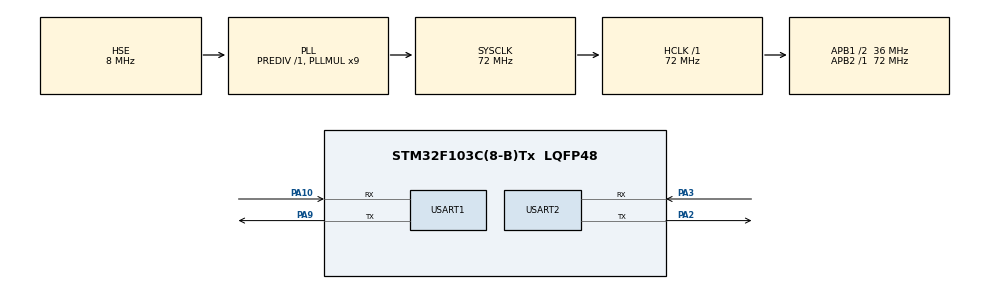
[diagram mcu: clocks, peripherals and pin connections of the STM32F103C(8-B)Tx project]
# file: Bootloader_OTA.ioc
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Mcu.Family=STM32F1
Mcu.Name=STM32F103C(8-B)Tx
Mcu.Package=LQFP48
NVIC.FLASH_IRQn=true\:2\:0\:true\:false\:true\:true\:true\:true
NVIC.PriorityGroup=NVIC_PRIORITYGROUP_4
NVIC.USART2_IRQn=true\:1\:0\:true\:false\:true\:true\:true\:true
PA10.Mode=Asynchronous
PA10.Signal=USART1_RX
PA13.Mode=Serial_Wire
PA13.Signal=SYS_JTMS-SWDIO
PA14.Mode=Serial_Wire
PA14.Signal=SYS_JTCK-SWCLK
PA2.Mode=Asynchronous
PA2.Signal=USART2_TX
PA3.Mode=Asynchronous
PA3.Signal=USART2_RX
PA9.Mode=Asynchronous
PA9.Signal=USART1_TX
PD0-OSC_IN.Mode=HSE-External-Oscillator
PD0-OSC_IN.Signal=RCC_OSC_IN
PD1-OSC_OUT.Mode=HSE-External-Oscillator
PD1-OSC_OUT.Signal=RCC_OSC_OUT
ProjectManager.HeapSize=0x200
ProjectManager.StackSize=0x400
ProjectManager.TargetToolchain=MDK-ARM V5.32
RCC.AHBFreq_Value=72000000
RCC.APB1CLKDivider=RCC_HCLK_DIV2
RCC.APB1Freq_Value=36000000
RCC.APB1TimFreq_Value=72000000
RCC.APB2Freq_Value=72000000
RCC.APB2TimFreq_Value=72000000
RCC.HCLKFreq_Value=72000000
RCC.PLLMUL=RCC_PLL_MUL9
RCC.PLLSourceVirtual=RCC_PLLSOURCE_HSE
RCC.SYSCLKFreq_VALUE=72000000
RCC.SYSCLKSource=RCC_SYSCLKSOURCE_PLLCLK
RCC.USBFreq_Value=72000000
USART1.VirtualMode=VM_ASYNC
USART2.VirtualMode=VM_ASYNC
board=custom

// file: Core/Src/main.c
/* USER CODE BEGIN Header */
/**
  ******************************************************************************
  * @file           : main.c
  * @brief          : Main program body
  ******************************************************************************
  * @attention
  *
  * Copyright (c) 2023 STMicroelectronics.
  * All rights reserved.
  *
  * This software is licensed under terms that can be found in the LICENSE file
  * in the root directory of this software component.
  * If no LICENSE file comes with this software, it is provided AS-IS.
  *
  ******************************************************************************
  */
/* USER CODE END Header */
#include "main.h"

UART_HandleTypeDef huart1;
UART_HandleTypeDef huart2;

void SystemClock_Config(void);
static void MX_GPIO_Init(void);
static void MX_USART1_UART_Init(void);
static void MX_USART2_UART_Init(void);

/* USER CODE BEGIN 0 */
#include <string.h>
#include <stdbool.h>
#include <stdarg.h>
#include <stdio.h>
#include "flash.h"

#define ACK	0
#define NACK 1
#define MAX_DATA 128
#define ADDR_APP1_PROGRAM 0x8005000
#define ADDR_APP1_PROGRAM_SIZE 53
#define ADDR_APP2_PROGRAM (ADDR_APP1_PROGRAM + ADDR_APP1_PROGRAM_SIZE*1024) //0x8012400
#define ADDR_COMMON_ADDR 0x801F800

uint8_t uart_buff[MAX_DATA];
uint16_t uart_index;
bool flag = 1;
uint32_t ota_addr_start = ADDR_APP2_PROGRAM;

enum
{
    START_SEND_FILE = 0x01,
    SEND_DATA = 0x02,
    SEND_DONE = 0x03,
    SEND_ACK = 0x04,
};
enum
{
	NORMAL_RESET,
	OTA_REQUEST_RESET
};
enum
{
	APP1_CURRENT,
	APP2_CURRENT
};
typedef struct
{
	uint8_t used1;
	uint8_t used2;
	uint8_t reset_cause;
	uint8_t app_current;
} ota_infor_t;
ota_infor_t ota_infor;

//=================================== my_printf ==============================

void my_printf(const char* str, ...)
{
	char stringArray[100];

  va_list args;
  va_start(args, str);
  uint8_t len_str = vsprintf(stringArray, str, args);
  va_end(args);

	HAL_UART_Transmit(&huart1,(uint8_t*)stringArray, len_str, 100);
}

//=================================== console ================================

void console(uint8_t *buff, uint8_t len)
{
  for(uint8_t i=0; i<len; i++)
	{
    my_printf("%02x ", buff[i]);
  }
}

//=================================== checksum ===============================

uint8_t checksum(uint8_t *buff, uint8_t len)
{
    uint8_t sum=0;
    for(uint8_t i=0;i<len;i++)
		{
       sum += buff[i];
    }
    return sum;
}

//=================================== HAL_UARTEx_RxEventCallback =============

void HAL_UARTEx_RxEventCallback(UART_HandleTypeDef *huart, uint16_t Size)
{
  flag = 1;
  uart_index = Size;
  HAL_UARTEx_ReceiveToIdle_IT(&huart2,uart_buff,MAX_DATA);
}

//=================================== uart_send_data =========================

void uart_send_data(uint8_t *data, uint8_t len)
{
  HAL_UART_Transmit(&huart2,data,len,100);
}

//=================================== stm_send_ack ===========================

void stm_send_ack(bool ack)
{
	uint8_t buff[4];
	buff[0] = SEND_ACK;
	buff[1] = 1;
	buff[2] = ack;
	buff[3] = checksum(buff, 3);
	uart_send_data(buff, 4);
}

//=================================== receive_data_process ===================

void receive_data_process(uint8_t *data, uint8_t len)
{
  uint8_t check;
  if(len >= 3)
	{
    my_printf("receive_data_process:len= %d\n", len);
    console(data,len);
    my_printf("\n");
		my_printf("len: %d\n", data[1]);
    check = checksum(data,len-1);
    if(check == data[len-1])
		{
      my_printf("checksum: ok\n");
			my_printf("cmd: %x\n",data[0]);
      switch(data[0])
			{
        case START_SEND_FILE:
				{
					stm_send_ack(ACK);
					flash_unlock();
          break;
				}
        case SEND_DATA:
				{
					uint8_t len = data[1];
					flash_write_arr(ota_addr_start, &data[2], len);
					ota_addr_start += len;
          stm_send_ack(ACK);
          break;
				}
        case SEND_DONE:
				{
					ota_infor.app_current = (ota_infor.app_current = APP1_CURRENT)? APP2_CURRENT:APP1_CURRENT;
					ota_infor.reset_cause = NORMAL_RESET;
					flash_erase(1, ADDR_COMMON_ADDR);
					flash_write_arr(ADDR_COMMON_ADDR, &ota_infor, sizeof(ota_infor));
					flash_lock();
          my_printf("SEND_DONE_CMD\n");
					ota_addr_start = ADDR_APP2_PROGRAM;
					NVIC_SystemReset();
          break;
				}
      }
    }
    else
		{
			my_printf("checksum: err\n");
			stm_send_ack(NACK);
		}
  }
}

//=====================================Run_app_program==============================================

typedef void(*run_app_handle)(void);
run_app_handle run_app;
void run_app_program(uint32_t addr)
{
	HAL_RCC_DeInit();
	HAL_DeInit();
	SCB->SHCSR &= ~(SCB_SHCSR_USGFAULTENA_Msk |
									SCB_SHCSR_BUSFAULTENA_Msk |
									SCB_SHCSR_MEMFAULTENA_Msk ) ;
	__set_MSP(*((volatile uint32_t*) addr));
	run_app = (run_app_handle)*((volatile uint32_t*) (addr + 4));
	run_app();
}

/* USER CODE END 0 */

int main(void)
{

  /* MCU Configuration--------------------------------------------------------*/

  /* Reset of all peripherals, Initializes the Flash interface and the Systick. */
  HAL_Init();

  /* Configure the system clock */
  SystemClock_Config();

  /* Initialize all configured peripherals */
  MX_GPIO_Init();
  MX_USART1_UART_Init();
  MX_USART2_UART_Init();
  /* USER CODE BEGIN 2 */
	flash_read_arr(ADDR_COMMON_ADDR, &ota_infor, sizeof(ota_infor));

	if((ota_infor.used1 != 0x55) || (ota_infor.used2 != 0xaa))
	{
		my_printf("Boot: First\n");
		ota_infor.used1 = 0x55;
		ota_infor.used2 = 0xaa;
		ota_infor.app_current = APP1_CURRENT;
		ota_infor.reset_cause = NORMAL_RESET;
		flash_unlock();
		flash_erase(1, ADDR_COMMON_ADDR);
		flash_write_arr(ADDR_COMMON_ADDR, &ota_infor, sizeof(ota_infor));
		flash_lock();
	}
	else
	{
		my_printf("Boot: Not First\n");
	}
//	ota_infor.app_current = APP1_CURRENT;
//	flash_unlock();
//	flash_erase(1, ADDR_COMMON_ADDR);
//	flash_write_arr(ADDR_COMMON_ADDR, &ota_infor, sizeof(ota_infor));
//	flash_lock();
	switch(ota_infor.reset_cause)
	{
		case NORMAL_RESET:
		{
			my_printf("Boot: NORMAL_RESET\n");
			my_printf("Boot: Run_app_program: App: %d, Addr: %x\n", ota_infor.app_current,
								ota_infor.app_current == APP1_CURRENT? ADDR_APP1_PROGRAM:ADDR_APP2_PROGRAM);
			if(ota_infor.app_current == APP1_CURRENT)
			{
					run_app_program(ADDR_APP1_PROGRAM);

			}
			else
			{
					run_app_program(ADDR_APP2_PROGRAM);
			}
			break;
		}
		case OTA_REQUEST_RESET:
		{
			my_printf("Boot: OTA_REQUEST_RESET\n");
			ota_infor.reset_cause = NORMAL_RESET;
			flash_unlock();
			flash_erase(1, ADDR_COMMON_ADDR);
			flash_write_arr(ADDR_COMMON_ADDR, &ota_infor, sizeof(ota_infor));
			flash_lock();
			break;
		}
	}
	my_printf("Boot: Program Bootloader Start!\n");

  HAL_UARTEx_ReceiveToIdle_IT(&huart2,uart_buff,MAX_DATA);
  /* USER CODE END 2 */

  /* Infinite loop */
  while (1)
  {

    /* USER CODE BEGIN 3 */
    if(flag == 1)
		{
     receive_data_process(uart_buff, uart_index);
     flag = 0;
    }
//		 HAL_UARTEx_ReceiveToIdle_IT(&huart2,uart_buff,MAX_DATA);
  }
  /* USER CODE END 3 */
}

void SystemClock_Config(void)
{
  RCC_OscInitTypeDef RCC_OscInitStruct = {0};
  RCC_ClkInitTypeDef RCC_ClkInitStruct = {0};

  /** Initializes the RCC Oscillators according to the specified parameters
  * in the RCC_OscInitTypeDef structure.
  */
  RCC_OscInitStruct.OscillatorType = RCC_OSCILLATORTYPE_HSE;
  RCC_OscInitStruct.HSEState = RCC_HSE_ON;
  RCC_OscInitStruct.HSEPredivValue = RCC_HSE_PREDIV_DIV1;
  RCC_OscInitStruct.HSIState = RCC_HSI_ON;
  RCC_OscInitStruct.PLL.PLLState = RCC_PLL_ON;
  RCC_OscInitStruct.PLL.PLLSource = RCC_PLLSOURCE_HSE;
  RCC_OscInitStruct.PLL.PLLMUL = RCC_PLL_MUL9;
  if (HAL_RCC_OscConfig(&RCC_OscInitStruct) != HAL_OK)
  {
    Error_Handler();
  }

  /** Initializes the CPU, AHB and APB buses clocks
  */
  RCC_ClkInitStruct.ClockType = RCC_CLOCKTYPE_HCLK|RCC_CLOCKTYPE_SYSCLK
                              |RCC_CLOCKTYPE_PCLK1|RCC_CLOCKTYPE_PCLK2;
  RCC_ClkInitStruct.SYSCLKSource = RCC_SYSCLKSOURCE_PLLCLK;
  RCC_ClkInitStruct.AHBCLKDivider = RCC_SYSCLK_DIV1;
  RCC_ClkInitStruct.APB1CLKDivider = RCC_HCLK_DIV2;
  RCC_ClkInitStruct.APB2CLKDivider = RCC_HCLK_DIV1;

  if (HAL_RCC_ClockConfig(&RCC_ClkInitStruct, FLASH_LATENCY_2) != HAL_OK)
  {
    Error_Handler();
  }
}

static void MX_USART1_UART_Init(void)
{

  huart1.Instance = USART1;
  huart1.Init.BaudRate = 115200;
  huart1.Init.WordLength = UART_WORDLENGTH_8B;
  huart1.Init.StopBits = UART_STOPBITS_1;
  huart1.Init.Parity = UART_PARITY_NONE;
  huart1.Init.Mode = UART_MODE_TX_RX;
  huart1.Init.HwFlowCtl = UART_HWCONTROL_NONE;
  huart1.Init.OverSampling = UART_OVERSAMPLING_16;
  if (HAL_UART_Init(&huart1) != HAL_OK)
  {
    Error_Handler();
  }

}

static void MX_USART2_UART_Init(void)
{

  huart2.Instance = USART2;
  huart2.Init.BaudRate = 115200;
  huart2.Init.WordLength = UART_WORDLENGTH_8B;
  huart2.Init.StopBits = UART_STOPBITS_1;
  huart2.Init.Parity = UART_PARITY_NONE;
  huart2.Init.Mode = UART_MODE_TX_RX;
  huart2.Init.HwFlowCtl = UART_HWCONTROL_NONE;
  huart2.Init.OverSampling = UART_OVERSAMPLING_16;
  if (HAL_UART_Init(&huart2) != HAL_OK)
  {
    Error_Handler();
  }

}

static void MX_GPIO_Init(void)
{

  /* GPIO Ports Clock Enable */
  __HAL_RCC_GPIOD_CLK_ENABLE();
  __HAL_RCC_GPIOA_CLK_ENABLE();

}

void Error_Handler(void)
{
  __disable_irq();
  while (1)
  {
  }
}
